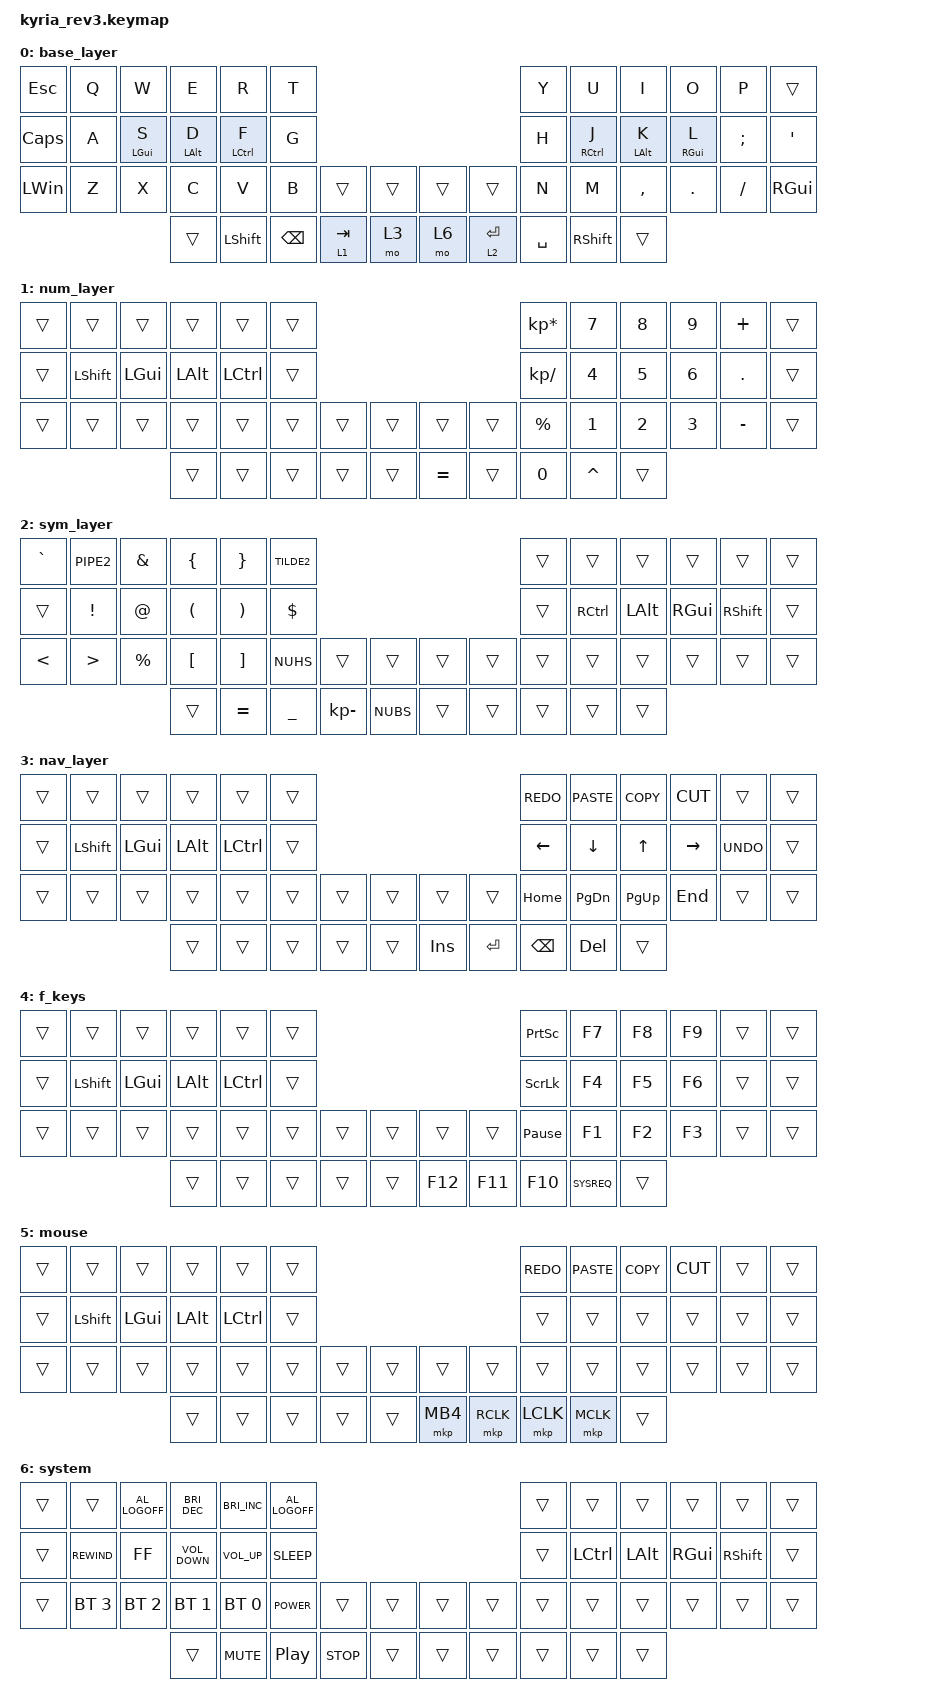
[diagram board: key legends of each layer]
/*
 * Copyright (c) 2023 The ZMK Contributors
 *
 * SPDX-License-Identifier: MIT
 */
// Keyboard Key Layout
// ---------------------------------------------------------------------------------------------------------------------------------
// |   1    |   2    |   3    |   4    |   5    |   6    |                     %                     |   7    |   8    |   9    |   10   |   11   |   12   |
// |   13   |   14   |   15   |   16   |   17   |   18   |                     %                     |   19   |   20   |   21   |   22   |   23   |   24   |
// |   25   |   26   |   27   |   28   |   29   |   30   |   31   |   32   |   %   |   33   |   34   |   35   |   36   |   37   |   38   |   39   |   40   |
//                            |   41   |   42   |   43   |   44   |   45   |   %   |   46   |   47   |   48   |   49   |   50   |

#include <dt-bindings/zmk/mouse.h>
#include <behaviors.dtsi>
#include <dt-bindings/zmk/bt.h>
#include <dt-bindings/zmk/keys.h>
#include <dt-bindings/zmk/pointing.h>

#define BASE 0
#define SYM 1
#define NUM 2
#define NAV 3
#define MOUSE 4
#define MEDIA 5
#define FUN 6

/* Uncomment this block if using RGB
&led_strip {
    chain-length = <6>;
    // chain-length = <31>; // Uncomment if using both per-key and underglow LEDs
    // chain-length = <25>; // Uncomment if using only per-key LEDs.
};
 */

&caps_word {
    continue-list = <UNDERSCORE BACKSPACE DELETE MINUS KP_MINUS>;
    mods = <(MOD_LCTL|MOD_RCTL|MOD_LGUI|MOD_LALT|MOD_LSFT|MOD_RSFT|MOD_RALT|MOD_RGUI)>;
};

/ {
    combos {
        compatible = "zmk,combos";

        f_keys {
            bindings = <&mo 4>;
            key-positions = <30 43>;
        };

        mouse {
            bindings = <&mo 5>;
            key-positions = <31 44>;
        };

        delete {
            bindings = <&kp DEL>;
            key-positions = <16 15>;
        };
    };
};

/ {
    behaviors {
        td_lshift: tap_dance_caps {
            compatible = "zmk,behavior-tap-dance";
            label = "TAP_DANCE_CAPS";
            #binding-cells = <0>;
            tapping-term-ms = <300>;
            bindings = <&kp LSHIFT>, <&caps_word>;
        };

        hold_tapPref: hold_tapPref {
            compatible = "zmk,behavior-hold-tap";
            label = "HOLD_TAPPREF";
            #binding-cells = <2>;
            flavor = "hold-preferred";
            tapping-term-ms = <400>;
            quick-tap-ms = <200>;
            bindings = <&kp>, <&kp>;
        };

        td_caps: td_caps {
            compatible = "zmk,behavior-tap-dance";
            label = "TD_CAPS";
            #binding-cells = <0>;
            tapping-term-ms = <300>;
            bindings = <&caps_word>, <&kp CAPSLOCK>;
        };

        home_row_left: home_row_left {
            compatible = "zmk,behavior-hold-tap";
            label = "HOME_ROW_LEFT";
            #binding-cells = <2>;
            flavor = "balanced";
            tapping-term-ms = <280>;
            quick-tap-ms = <175>;
            bindings = <&kp>, <&kp>;

            hold-trigger-on-release;
            hold-trigger-key-positions = <34 35 36 37 38 39 23 21 20 19 18 6 7 8 9 10 22 11 46 45 46 47 48 32 33 49>;
            require-prior-idle-ms = <150>;
        };

        home_row_right: home_row_right {
            compatible = "zmk,behavior-hold-tap";
            label = "HOME_ROW_RIGHT";
            #binding-cells = <2>;
            flavor = "balanced";
            tapping-term-ms = <280>;
            quick-tap-ms = <175>;
            bindings = <&kp>, <&kp>;

            hold-trigger-on-release;
            hold-trigger-key-positions = <24 25 27 26 28 29 17 5 4 16 15 3 2 14 13 1 0 12 40 41 42 43 44 30 31>;
            require-prior-idle-ms = <150>;
        };
    };
};

/ {
    keymap {
        compatible = "zmk,keymap";

        base_layer {
            // ---------------------------------------------------------------------------------------------------------------------------------
            // |  ESC        | Q | W | E   | R   | T    |                     %                    | Y     | U   | I   | O | P | MOUSE |
            // |  CAPSW/ALT  | A | S | D   | F   | G    |                     %                    | H     | J   | K   | L | ; | '     |
            // |  WIN        | Z | X | C   | V   | B    | NONE   | NONE   |   %   | NONE  | NONE   | N     | M   | ,   | . | / | MEDIA |
            //                       | DEL | TAB | BSPC | LSHIFT | LCTRL  |   %   | RCTRL | RSHIFT | SPACE | RET | FUN |

            bindings = <
&kp ESC       &kp Q  &kp W                      &kp E                      &kp R                          &kp T                                                &kp Y      &kp U                            &kp I                       &kp O                        &kp P          &trans
&kp CAPSLOCK  &kp A  &home_row_left LEFT_GUI S  &home_row_left LEFT_ALT D  &home_row_left LEFT_CONTROL F  &kp G                                                &kp H      &home_row_right RIGHT_CONTROL J  &home_row_right LEFT_ALT K  &home_row_right RIGHT_GUI L  &kp SEMICOLON  &kp SQT
&kp LWIN      &kp Z  &kp X                      &kp C                      &kp V                          &kp B          &trans     &trans  &trans  &trans     &kp N      &kp M                            &kp COMMA                   &kp DOT                      &kp FSLH       &kp RGUI
                                                &trans                     &kp LEFT_SHIFT                 &kp BACKSPACE  &lt 1 TAB  &mo 3   &mo 6   &lt 2 RET  &kp SPACE  &kp RIGHT_SHIFT                  &trans
            >;
        };

        num_layer {
            // ---------------------------------------------------------------------------------------------------------------------------------
            // | NONE | NONE | NONE | NONE | NONE | NONE |                   %                    | +    | 7    | 8    | 9 | * | ^    |
            // | NONE | NONE | NONE | NONE | NONE | NONE |                   %                    | =    | 4    | 5    | 6 | 0 | NONE |
            // | NONE | NONE | NONE | NONE | NONE | NONE | NUM    | NONE |   %   | NONE  | NONE   | -    | 1    | 2    | 3 | / | %    |
            //                      | NONE | LALT | RWIN | LSHIFT | CTRL |   %   | CTRL  | RSHIFT | RWIN | LALT | NONE |

            bindings = <
&trans  &trans          &trans        &trans        &trans            &trans                                     &kp KP_MULTIPLY  &kp N7     &kp N8  &kp N9  &kp PLUS   &trans
&trans  &kp LEFT_SHIFT  &kp LEFT_GUI  &kp LEFT_ALT  &kp LEFT_CONTROL  &trans                                     &kp KP_SLASH     &kp N4     &kp N5  &kp N6  &kp DOT    &trans
&trans  &trans          &trans        &trans        &trans            &trans  &trans  &trans  &trans     &trans  &kp PRCNT        &kp N1     &kp N2  &kp N3  &kp MINUS  &trans
                                      &trans        &trans            &trans  &trans  &trans  &kp EQUAL  &trans  &kp N0           &kp CARET  &trans
            >;
        };

        sym_layer {
            // ---------------------------------------------------------------------------------------------------------------------------------
            // |  `  |  ~  |  {  |  }   |  "   |  !   |                   %                   | NONE | NONE | NONE | NONE | NONE | NONE |
            // |  $  |  #  |  (  |  )   |  _   |  |   |                   %                   | NONE | NONE | NONE | NONE | NONE | NONE |
            // |  <  |  >  |  [  |  ]   |  \   |  &   |  NONE  | NONE |   %   | NONE | NONE   | NONE | NONE | NONE | NONE | NONE | NONE |
            //                   | NONE | LALT | RWIN | LSHIFT | CTRL |   %   | CTRL | RSHIFT | RWIN | LALT | NONE |

            bindings = <
&kp GRAVE  &kp PIPE2  &kp AMPS     &kp LBRC  &kp RBRC   &kp TILDE2                                          &trans  &trans             &trans        &trans         &trans           &trans
&trans     &kp EXCL   &kp AT       &kp LPAR  &kp RPAR   &kp DLLR                                            &trans  &kp RIGHT_CONTROL  &kp LEFT_ALT  &kp RIGHT_GUI  &kp RIGHT_SHIFT  &trans
&kp LT     &kp GT     &kp PERCENT  &kp LBKT  &kp RBKT   &kp NUHS    &trans        &trans    &trans  &trans  &trans  &trans             &trans        &trans         &trans           &trans
                                   &trans    &kp EQUAL  &kp UNDER   &kp KP_MINUS  &kp NUBS  &trans  &trans  &trans  &trans             &trans
            >;
        };

        nav_layer {
            // ---------------------------------------------------------------------------------------------------------------------------------
            // | NONE | NONE | NONE | NONE   | NONE  | NONE |                   %                   | NONE | NONE | NONE | NONE  | NONE | NONE |
            // | NONE | WIN  | LALT | LSHIFT | LCTRL | NONE |                   %                   | LEFT | DOWN | UP   | RIGHT | NONE | NONE |
            // | NONE | NONE | NONE | NONE   | NONE  | NONE | NONE   | NAV  |   %   | NONE | SYM    | NONE | NONE | NONE | NONE  | NONE | NONE |
            //                      | NONE   | LALT  | RWIN | LSHIFT | CTRL |   %   | CTRL | RSHIFT | RWIN | LALT | NONE |

            bindings = <
&trans  &trans          &trans        &trans        &trans            &trans                                          &kp K_REDO     &kp K_PASTE    &kp K_COPY   &kp K_CUT  &trans      &trans
&trans  &kp LEFT_SHIFT  &kp LEFT_GUI  &kp LEFT_ALT  &kp LEFT_CONTROL  &trans                                          &kp LEFT       &kp DOWN       &kp UP       &kp RIGHT  &kp K_UNDO  &trans
&trans  &trans          &trans        &trans        &trans            &trans  &trans  &trans  &trans      &trans      &kp HOME       &kp PAGE_DOWN  &kp PAGE_UP  &kp END    &trans      &trans
                                      &trans        &trans            &trans  &trans  &trans  &kp INSERT  &kp RETURN  &kp BACKSPACE  &kp DELETE     &trans
            >;
        };

        f_keys {
            bindings = <
&trans  &trans          &trans        &trans        &trans            &trans                                    &kp PRINTSCREEN  &kp F7      &kp F8  &kp F9  &trans  &trans
&trans  &kp LEFT_SHIFT  &kp LEFT_GUI  &kp LEFT_ALT  &kp LEFT_CONTROL  &trans                                    &kp SCROLLLOCK   &kp F4      &kp F5  &kp F6  &trans  &trans
&trans  &trans          &trans        &trans        &trans            &trans  &trans  &trans  &trans   &trans   &kp PAUSE_BREAK  &kp F1      &kp F2  &kp F3  &trans  &trans
                                      &trans        &trans            &trans  &trans  &trans  &kp F12  &kp F11  &kp F10          &kp SYSREQ  &trans
            >;
        };

        mouse {
            bindings = <
&trans  &trans          &trans        &trans        &trans            &trans                                       &kp K_REDO  &kp K_PASTE  &kp K_COPY  &kp K_CUT  &trans  &trans
&trans  &kp LEFT_SHIFT  &kp LEFT_GUI  &kp LEFT_ALT  &kp LEFT_CONTROL  &trans                                       &trans      &trans       &trans      &trans     &trans  &trans
&trans  &trans          &trans        &trans        &trans            &trans  &trans  &trans  &trans    &trans     &trans      &trans       &trans      &trans     &trans  &trans
                                      &trans        &trans            &trans  &trans  &trans  &mkp MB4  &mkp RCLK  &mkp LCLK   &mkp MCLK    &trans
            >;
        };

        system {
            bindings = <
&trans  &trans        &kp C_AL_LOGOFF  &kp C_BRIGHTNESS_DEC  &kp C_BRIGHTNESS_INC  &kp C_AL_LOGOFF                                       &trans  &trans            &trans        &trans         &trans           &trans
&trans  &kp C_REWIND  &kp C_FF         &kp C_VOLUME_DOWN     &kp C_VOLUME_UP       &kp C_SLEEP                                           &trans  &kp LEFT_CONTROL  &kp LEFT_ALT  &kp RIGHT_GUI  &kp RIGHT_SHIFT  &trans
&trans  &bt BT_SEL 3  &bt BT_SEL 2     &bt BT_SEL 1          &bt BT_SEL 0          &kp C_POWER       &trans      &trans  &trans  &trans  &trans  &trans            &trans        &trans         &trans           &trans
                                       &trans                &kp C_MUTE            &kp C_PLAY_PAUSE  &kp C_STOP  &trans  &trans  &trans  &trans  &trans            &trans
            >;
        };
    };
};
